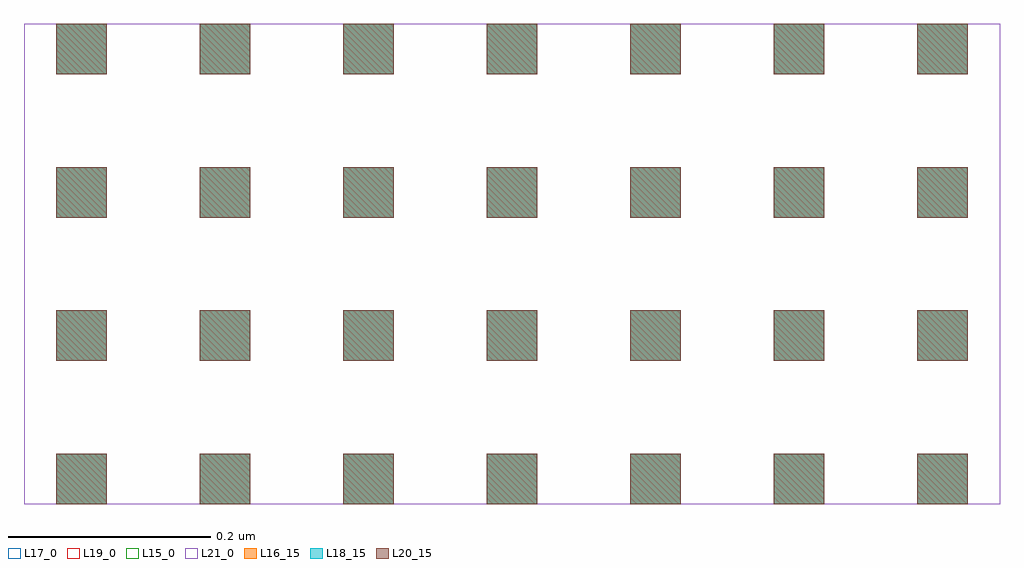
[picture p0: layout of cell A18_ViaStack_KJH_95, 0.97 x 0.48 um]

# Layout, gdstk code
import gdstk
lib = gdstk.Library(unit=1e-6, precision=1e-09)
def R(c, l, rs):  # rectangles x0, y0, x1, y1
    for r in rs: c.add(gdstk.rectangle(r[:2], r[2:], *l))
def A(c, l, x, y, w, h, nx, ny, dx, dy):  # array of equal rectangles
    R(c, l, [(x+i*dx, y+j*dy, x+i*dx+w, y+j*dy+h) for i in range(nx) for j in range(ny)])
L15_0 = (15, 0)
L16_15 = (16, 15)
L17_0 = (17, 0)
L18_15 = (18, 15)
L19_0 = (19, 0)
L20_15 = (20, 15)
L21_0 = (21, 0)

a18_viastack_kjh_95_srf_ = lib.new_cell('A18_ViaStack_KJH_95:SRF_ViaM1M2')
R(a18_viastack_kjh_95_srf_, L15_0, [(-0.032,-0.426,0.934,0.05)])
A(a18_viastack_kjh_95_srf_, L16_15, 0, -0.426, 0.05, 0.05, 7, 4, 0.142, 0.142)
R(a18_viastack_kjh_95_srf_, L17_0, [(-0.032,-0.426,0.934,0.05)])

c_a18_viastack_kjh_95_srf_ = lib.new_cell('A18_ViaStack_KJH_95:SRF_ViaM2M3')
R(c_a18_viastack_kjh_95_srf_, L17_0, [(-0.032,-0.426,0.934,0.05)])
A(c_a18_viastack_kjh_95_srf_, L18_15, 0, -0.426, 0.05, 0.05, 7, 4, 0.142, 0.142)
R(c_a18_viastack_kjh_95_srf_, L19_0, [(-0.032,-0.426,0.934,0.05)])

c_a18_viastack_kjh_95_srf__ = lib.new_cell('A18_ViaStack_KJH_95:SRF_ViaM3M4')
R(c_a18_viastack_kjh_95_srf__, L19_0, [(-0.032,-0.426,0.934,0.05)])
A(c_a18_viastack_kjh_95_srf__, L20_15, 0, -0.426, 0.05, 0.05, 7, 4, 0.142, 0.142)
R(c_a18_viastack_kjh_95_srf__, L21_0, [(-0.032,-0.426,0.934,0.05)])

a18_viastack_kjh_95 = lib.new_cell('A18_ViaStack_KJH_95')
a18_viastack_kjh_95.add(gdstk.Reference(a18_viastack_kjh_95_srf_, (-0.451,0.188)))
a18_viastack_kjh_95.add(gdstk.Reference(c_a18_viastack_kjh_95_srf_, (-0.451,0.188)))
a18_viastack_kjh_95.add(gdstk.Reference(c_a18_viastack_kjh_95_srf__, (-0.451,0.188)))

lib.write_gds('A18_ViaStack_KJH_95.gds')
